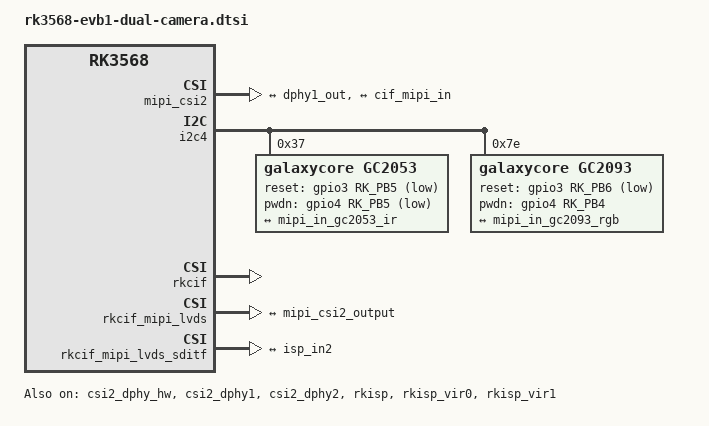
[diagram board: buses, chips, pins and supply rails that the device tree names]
// SPDX-License-Identifier: (GPL-2.0+ OR MIT)
/*
 * Copyright (c) 2022 Rockchip Electronics Co., Ltd.
 *
 */

&csi2_dphy_hw {
	status = "okay";
};

/*
 * csi2_dphy1 & csi2_dphy2 used for split mode,
 * csi2_dphy0 used for full mode,
 * full mode and split mode are mutually exclusive
 */
&csi2_dphy0 {
	status = "disabled";
	/delete-node/ ports;
};

&csi2_dphy1 {
	status = "okay";
	/*
	 * dphy1 only used for split mode,
	 * can be used  concurrently  with dphy2
	 * full mode and split mode are mutually exclusive
	 */
	ports {
		#address-cells = <1>;
		#size-cells = <0>;

		port@0 {
			reg = <0>;
			#address-cells = <1>;
			#size-cells = <0>;

			mipi_in_gc2093_rgb: endpoint@2 {
				reg = <2>;
				remote-endpoint = <&gc2093_out>;
				data-lanes = <1 2>;
			};
		};

		port@1 {
			reg = <1>;
			#address-cells = <1>;
			#size-cells = <0>;

			dphy1_out: endpoint@1 {
				reg = <1>;
				remote-endpoint = <&mipi_csi2_input>;
			};
		};
	};
};

&csi2_dphy2 {
	status = "okay";
	/*
	 * dphy2 only used for split mode,
	 * can be used  concurrently  with dphy1
	 * full mode and split mode are mutually exclusive
	 */
	ports {
		#address-cells = <1>;
		#size-cells = <0>;

		port@0 {
			reg = <0>;
			#address-cells = <1>;
			#size-cells = <0>;

			mipi_in_gc2053_ir: endpoint@1 {
				reg = <1>;
				remote-endpoint = <&gc2053_out>;
				data-lanes = <1 2>;
			};
		};

		port@1 {
			reg = <1>;
			#address-cells = <1>;
			#size-cells = <0>;

			dphy2_out: endpoint@1 {
				reg = <1>;
				remote-endpoint = <&isp_in1>;
			};
		};
	};
};

&mipi_csi2 {
	status = "okay";

	ports {
		#address-cells = <1>;
		#size-cells = <0>;

		port@0 {
			reg = <0>;
			#address-cells = <1>;
			#size-cells = <0>;

			mipi_csi2_input: endpoint@1 {
				reg = <1>;
				remote-endpoint = <&dphy1_out>;
				data-lanes = <1 2>;
			};
		};

		port@1 {
			reg = <1>;
			#address-cells = <1>;
			#size-cells = <0>;

			mipi_csi2_output: endpoint@0 {
				reg = <0>;
				remote-endpoint = <&cif_mipi_in>;
				data-lanes = <1 2>;
			};
		};
	};
};

&i2c4 {
	status = "okay";

	/delete-node/ gc8034@37;
	/delete-node/ os04a10@36;
	/delete-node/ ov5695@36;

	gc2053: gc2053@37 {
		status = "okay";
		compatible = "galaxycore,gc2053";
		reg = <0x37>;
		clocks = <&pmucru CLK_WIFI>;
		clock-names = "xvclk";
		power-domains = <&power RK3568_PD_VI>;
		pinctrl-names = "default";
		pinctrl-0 = <&refclk_pins>;
		reset-gpios = <&gpio3 RK_PB5 GPIO_ACTIVE_LOW>;
		pwdn-gpios = <&gpio4 RK_PB5 GPIO_ACTIVE_LOW>;
		rockchip,camera-module-index = <1>;
		rockchip,camera-module-facing = "front";
		rockchip,camera-module-name = "DW-RV2093-V1.0";
		rockchip,camera-module-lens-name = "JZ-7070AS-A3";
		port {
			gc2053_out: endpoint {
				remote-endpoint = <&mipi_in_gc2053_ir>;
				data-lanes = <1 2>;
			};
		};
	};

	gc2093: gc2093@7e {
		status = "okay";
		compatible = "galaxycore,gc2093";
		reg = <0x7e>;
		clocks = <&cru CLK_CIF_OUT>;
		clock-names = "xvclk";
		power-domains = <&power RK3568_PD_VI>;
		pinctrl-names = "default";
		pinctrl-0 = <&cif_clk>;
		reset-gpios = <&gpio3 RK_PB6 GPIO_ACTIVE_LOW>;
		pwdn-gpios = <&gpio4 RK_PB4 GPIO_ACTIVE_HIGH>;
		rockchip,camera-module-index = <0>;
		rockchip,camera-module-facing = "front";
		rockchip,camera-module-name = "DW-RV2093-V1.0";
		rockchip,camera-module-lens-name = "JZ-7070AS-A1";
		port {
			gc2093_out: endpoint {
				remote-endpoint = <&mipi_in_gc2093_rgb>;
				data-lanes = <1 2>;
			};
		};
	};
};

&rkcif {
	status = "okay";
};

&rkcif_mipi_lvds {
	status = "okay";

	port {
		cif_mipi_in: endpoint {
			remote-endpoint = <&mipi_csi2_output>;
			data-lanes = <1 2>;
		};
	};
};

&rkcif_mipi_lvds_sditf {
	status = "okay";

	port {
		mipi_lvds_sditf: endpoint {
			remote-endpoint = <&isp_in2>;
			data-lanes = <1 2>;
		 };
	};
};

&rkcif_mmu {
	status = "okay";
};


&rkisp {
	status = "okay";
	max-input = <3840 2160 30>;
};

&rkisp_mmu {
	status = "okay";
};

&rkisp_vir0 {
	status = "okay";
	/* gc2053-ir->dphy2->isp_vir0 */
	port {
		#address-cells = <1>;
		#size-cells = <0>;

		isp_in1: endpoint@0 {
			reg = <0>;
			remote-endpoint = <&dphy2_out>;
		};
	};
};

&rkisp_vir1 {
	status = "okay";
	/* gc2093-rgb->dphy1->csi2->vicap */
	/* vicap sditf->isp_vir1 */
	port {
		#address-cells = <1>;
		#size-cells = <0>;

		isp_in2: endpoint@0 {
			reg = <0>;
			remote-endpoint = <&mipi_lvds_sditf>;
		};
	};
};
